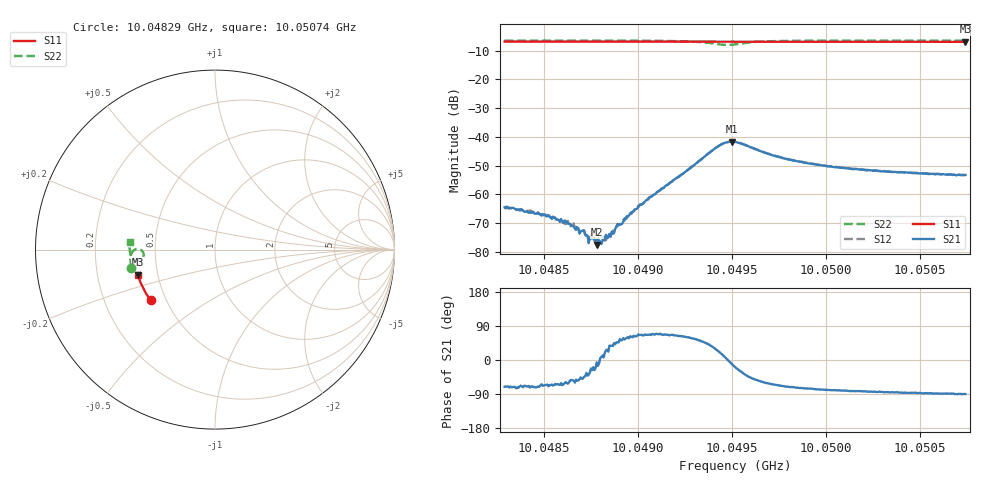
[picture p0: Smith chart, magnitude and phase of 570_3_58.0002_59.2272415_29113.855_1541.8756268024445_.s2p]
#  HZ  S  RI  R  50.00
! Rohde & Schwarz Vector Network Analyzer
! Rohde-Schwarz,ZNB20-2Port,1311601062101988,3.16
! Created: UTC 3/21/2024, 1:15:53 AM
! freq[Hz]  re:S11  im:S11  re:S21  im:S21  re:S12  im:S12  re:S22  im:S22
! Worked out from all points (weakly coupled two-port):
!   401 points, 10.04829 GHz to 10.05074 GHz, reference 50 ohm
!   highest |S21| = -41.68 dB at 10.0495 GHz (marker M1); lowest = -77.6 dB at 10.04878 GHz (marker M2)
!   lowest |S11| = -6.9 dB at 10.05074 GHz (marker M3), VSWR 2.65, Z = 19.3 - j6.78 ohm
!   |S11| at or under -10 dB: nowhere
!   |S22| runs from -8.0 to -6.4 dB; largest |S21 - S12| = 0.0006
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1.004829e10  -0.3584 -0.2828  0.000199 -0.00056  0.000218 -0.000513  -0.4668 -0.0998
1.0048425e10  -0.3636 -0.2756  0.000147 -0.000469  0.000222 -0.00047  -0.4682 -0.0901
1.0048529e10  -0.3675 -0.2699  0.000166 -0.000368  0.000191 -0.000375  -0.4696 -0.0825
1.0048621e10  -0.371 -0.2649  0.000156 -0.000279  0.000184 -0.00028  -0.4703 -0.0755
1.0048701e10  -0.3739 -0.2605  0.00015 -0.000174  0.000134 -0.00016  -0.4706 -0.0694
1.0048719e10  -0.3746 -0.2594  0.000145 -0.000135  0.000156 -0.000125  -0.4709 -0.068
1.0048737e10  -0.3752 -0.2584  0.000109 -8.88e-05  0.000142 -0.000124  -0.4709 -0.0666
1.004875e10  -0.3756 -0.2577  0.000156 -6.43e-05  0.00017 -7.91e-05  -0.4709 -0.0656
1.004878e10  -0.3767 -0.2561  0.000131 -1.44e-05  0.000124 -1.55e-05  -0.4712 -0.063
1.0048793e10  -0.3772 -0.2554  0.000146 -2.24e-05  0.000157 -1.15e-05  -0.4711 -0.0621
1.0048823e10  -0.3783 -0.2537  0.00015 5.17e-05  0.000152 3.81e-05  -0.4713 -0.0594
1.004886e10  -0.3795 -0.2517  0.000177 0.000136  0.000154 0.000148  -0.4713 -0.0564
1.0048891e10  -0.3806 -0.25  0.000205 0.000218  0.000188 0.000241  -0.4712 -0.0537
1.0048952e10  -0.3827 -0.2466  0.000232 0.000362  0.000197 0.000382  -0.4711 -0.048
1.0049111e10  -0.3881 -0.2374  0.000432 0.00106  0.000361 0.00108  -0.4688 -0.0313
1.0049418e10  -0.3971 -0.2195  0.00588 0.00297  0.00564 0.00336  -0.4149 -0.000483
1.0049498e10  -0.3991 -0.2151  0.00812 -0.0014  0.00824 -0.000864  -0.3992 -0.0407
1.0049516e10  -0.3998 -0.2142  0.00772 -0.00257  0.00795 -0.00205  -0.4045 -0.0503
1.0049724e10  -0.4062 -0.2022  0.00198 -0.00427  0.00229 -0.00418  -0.4627 -0.0454
1.0049927e10  -0.4117 -0.1901  0.000801 -0.00328  0.000983 -0.00325  -0.4726 -0.0208
1.0050337e10  -0.4219 -0.165  0.000196 -0.00249  0.000357 -0.00247  -0.4754 0.0146
1.0050742e10  -0.4301 -0.1399  5.27e-06 -0.00217  0.00012 -0.00215  -0.4739 0.0442
